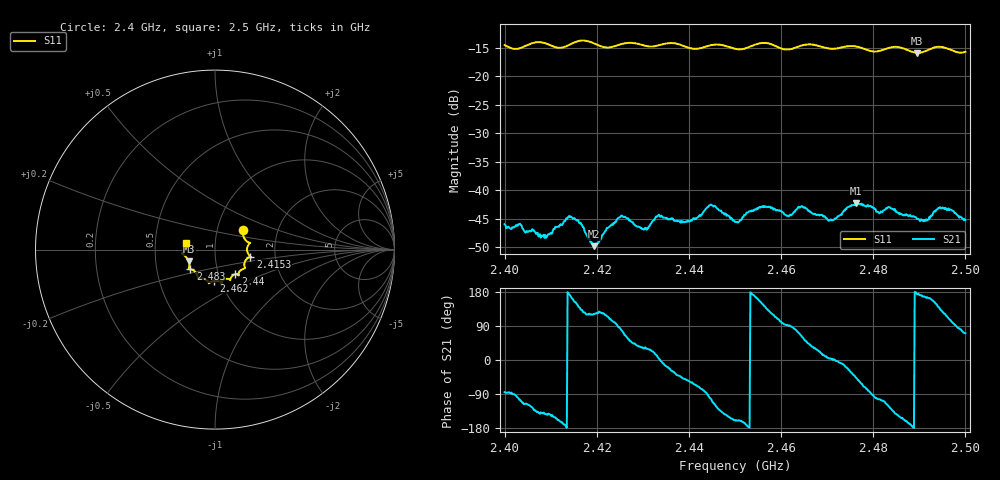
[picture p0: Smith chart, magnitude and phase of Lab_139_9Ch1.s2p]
# Hz S RI R
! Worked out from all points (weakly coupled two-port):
!   601 points, 2.4 GHz to 2.5 GHz, reference 50 ohm
!   highest |S21| = -42.27 dB at 2.4763 GHz (marker M1); lowest = -49.8 dB at 2.4193 GHz (marker M2)
!   lowest |S11| = -15.9 dB at 2.4895 GHz (marker M3), VSWR 1.38, Z = 36.9 - j5.01 ohm
!   |S11| at or under -10 dB: start of sweep to end of sweep
!   S12 and S22 are empty: the file has one direction only
!   S11 on the Smith chart (normalised r, x): 2.4 GHz: 1.33, +0.29; 2.4153 GHz: 1.48, -0.12; 2.44 GHz: 1.21, -0.34; 2.462 GHz: 0.93, -0.33; 2.483 GHz: 0.74, -0.17; 2.5 GHz: 0.72, +0.06
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2.4e9  0.1552 0.1064  0.00046 -0.00504  0 0  0 0
2.408667e9  0.193 0.0353  -0.00301 -0.00237  0 0  0 0
2.415333e9  0.1962 -0.0385  -0.00496 0.00254  0 0  0 0
2.416667e9  0.2021 -0.0426  -0.00336 0.00374  0 0  0 0
2.419333e9  0.1908 -0.043  -0.0017 0.00277  0 0  0 0
2.425e9  0.1649 -0.0958  0.000554 0.00581  0 0  0 0
2.430333e9  0.1497 -0.1113  0.0039 0.00234  0 0  0 0
2.433333e9  0.1312 -0.1336  0.00603 0.00064  0 0  0 0
2.44e9  0.1141 -0.1368  0.00307 -0.00444  0 0  0 0
2.445e9  0.0845 -0.1687  -0.00231 -0.00702  0 0  0 0
2.45e9  0.0646 -0.1626  -0.00493 -0.00192  0 0  0 0
2.455833e9  0.0378 -0.1929  -0.00617 0.0037  0 0  0 0
2.462e9  -0.00506 -0.1732  8.01e-05 0.00615  0 0  0 0
2.464167e9  -0.0282 -0.1831  0.00284 0.00654  0 0  0 0
2.466667e9  -0.0343 -0.1874  0.00513 0.00371  0 0  0 0
2.470833e9  -0.0565 -0.1655  0.00557 0.000298  0 0  0 0
2.476333e9  -0.0947 -0.1568  0.0052 -0.00568  0 0  0 0
2.483e9  -0.1375 -0.1096  -0.00322 -0.00618  0 0  0 0
2.483333e9  -0.14 -0.1094  -0.00378 -0.00608  0 0  0 0
2.4895e9  -0.1463 -0.0661  -0.00562 0.000666  0 0  0 0
2.494833e9  -0.1801 -0.0204  -0.00448 0.00533  0 0  0 0
2.5e9  -0.1599 0.0391  0.00184 0.0052  0 0  0 0
